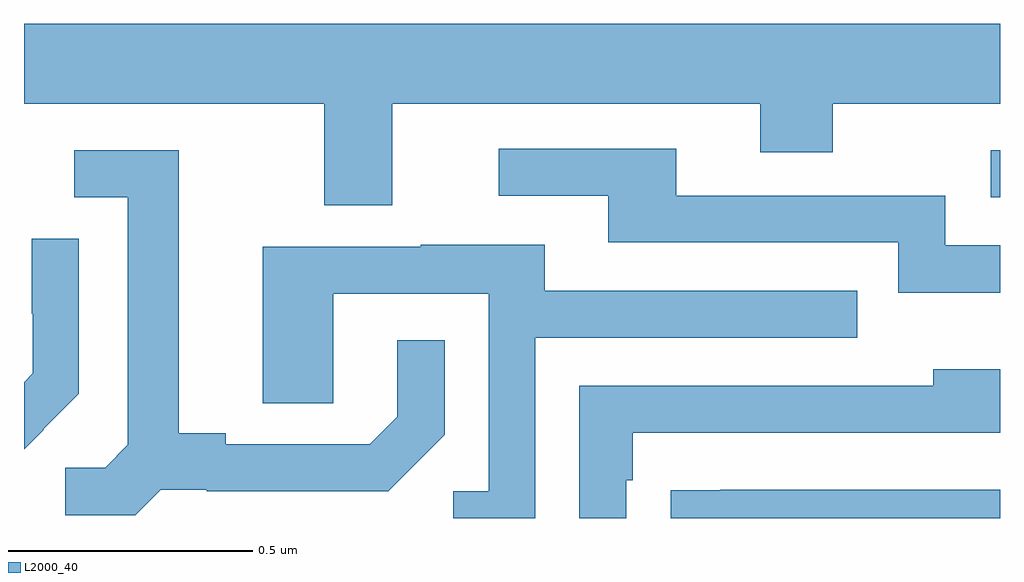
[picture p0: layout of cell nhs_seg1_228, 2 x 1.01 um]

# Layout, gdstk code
import gdstk
lib = gdstk.Library(unit=1e-6, precision=1e-09)
def R(c, l, rs):  # rectangles x0, y0, x1, y1
    for r in rs: c.add(gdstk.rectangle(r[:2], r[2:], *l))
def P(c, l, *ps):  # polygons
    for p in ps: c.add(gdstk.Polygon(p, *l))
L2000_40 = (2000, 40)

nhs_seg1_228 = lib.new_cell('nhs_seg1_228')
R(nhs_seg1_228, L2000_40, [(114.981,568.857,115,568.953)])
P(nhs_seg1_228, L2000_40, [(113.755,569.048),(114.509,569.048),(114.509,568.949),(114.657,568.949),(114.657,569.048),(115,569.048),(115,569.212),(113,569.212),(113,569.048),(113.615,569.048),(113.615,568.84),(113.755,568.84)],
  [(115,568.758),(114.888,568.758),(114.888,568.86),(114.337,568.86),(114.337,568.956),(113.973,568.956),(113.973,568.86),(114.197,568.86),(114.197,568.764),(114.792,568.764),(114.792,568.661),(115,568.661)],
  [(113.28,568.257),(113.374,568.257),(113.374,568.254),(113.746,568.254),(113.862,568.37),(113.862,568.564),(113.765,568.564),(113.765,568.407),(113.708,568.35),(113.413,568.35),(113.413,568.373),(113.317,568.373),(113.317,568.953),(113.103,568.953),(113.103,568.857),(113.213,568.857),(113.213,568.349),(113.166,568.302),(113.085,568.302),(113.085,568.205),(113.228,568.205)],
  [(113.04,568.38),(113.039,568.381),(113.112,568.454),(113.112,568.772),(113.016,568.772),(113.016,568.618),(113.018,568.618),(113.018,568.496),(113,568.478),(113,568.34)],
  [(114.048,568.569),(114.707,568.569),(114.707,568.665),(114.067,568.665),(114.067,568.759),(113.813,568.759),(113.813,568.755),(113.489,568.755),(113.489,568.435),(113.634,568.435),(113.634,568.659),(113.952,568.659),(113.952,568.254),(113.88,568.254),(113.88,568.199),(114.048,568.199)],
  [(114.234,568.277),(114.247,568.277),(114.247,568.374),(115,568.374),(115,568.504),(114.863,568.504),(114.863,568.47),(114.138,568.47),(114.138,568.199),(114.234,568.199)],
  [(115,568.257),(114.427,568.257),(114.427,568.256),(114.325,568.256),(114.325,568.199),(115,568.199)])

lib.write_gds('nhs_seg1_228.gds')
